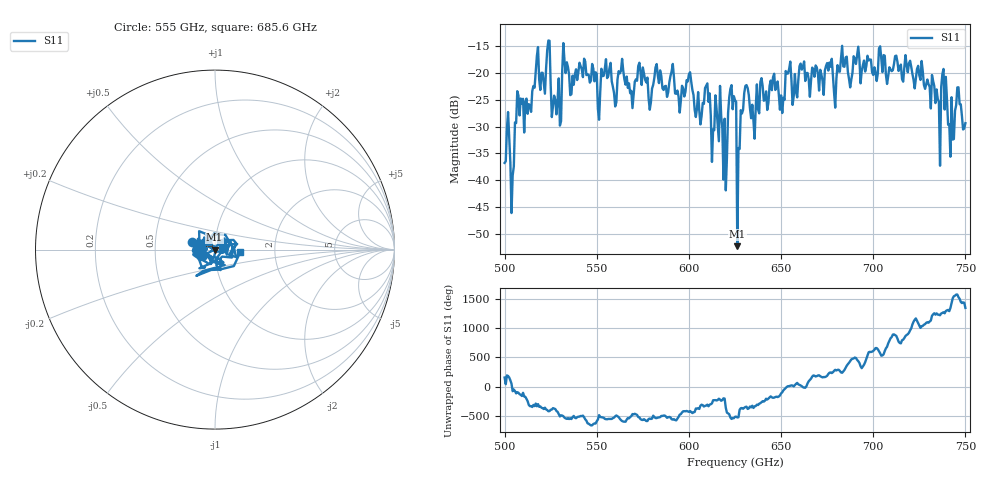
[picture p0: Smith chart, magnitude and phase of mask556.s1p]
!Created with skrf (http://scikit-rf.org).
# GHz S MA R 50.0
!freq magS11 angS11
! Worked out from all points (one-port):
!   401 points, 500 GHz to 750 GHz, reference 50 ohm
!   lowest |S11| = -52.3 dB at 626.2 GHz (marker M1), VSWR 1.00, Z = 49.8 - j0.0492 ohm
!   |S11| at or under -10 dB: start of sweep to end of sweep
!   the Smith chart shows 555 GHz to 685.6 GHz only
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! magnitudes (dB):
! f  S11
! 500 GHz  -36.8
! 504.4 GHz  -39.1
! 506.9 GHz  -23.4
! 513.8 GHz  -26.1
! 516.9 GHz  -19.8
! 523.8 GHz  -13.9
! 526.9 GHz  -24.2
! 531.2 GHz  -19.7
! 533.1 GHz  -20.0
! 550.6 GHz  -26.7
! 562.5 GHz  -20.1
! 593.8 GHz  -23.3
! 610 GHz  -21.9
! 618.1 GHz  -30.4
! 619.4 GHz  -28.5
! 623.8 GHz  -26.8
! 625 GHz  -25.1
! 626.2 GHz  -52.3
! 631.2 GHz  -22.3
! 635 GHz  -28.9
! 656.2 GHz  -26.0
! 687.5 GHz  -22.7
! 718.8 GHz  -19.9
! 735 GHz  -24.8
! 738.1 GHz  -19.2
! 742.5 GHz  -24.5
! 746.2 GHz  -22.7
! 750 GHz  -29.4
